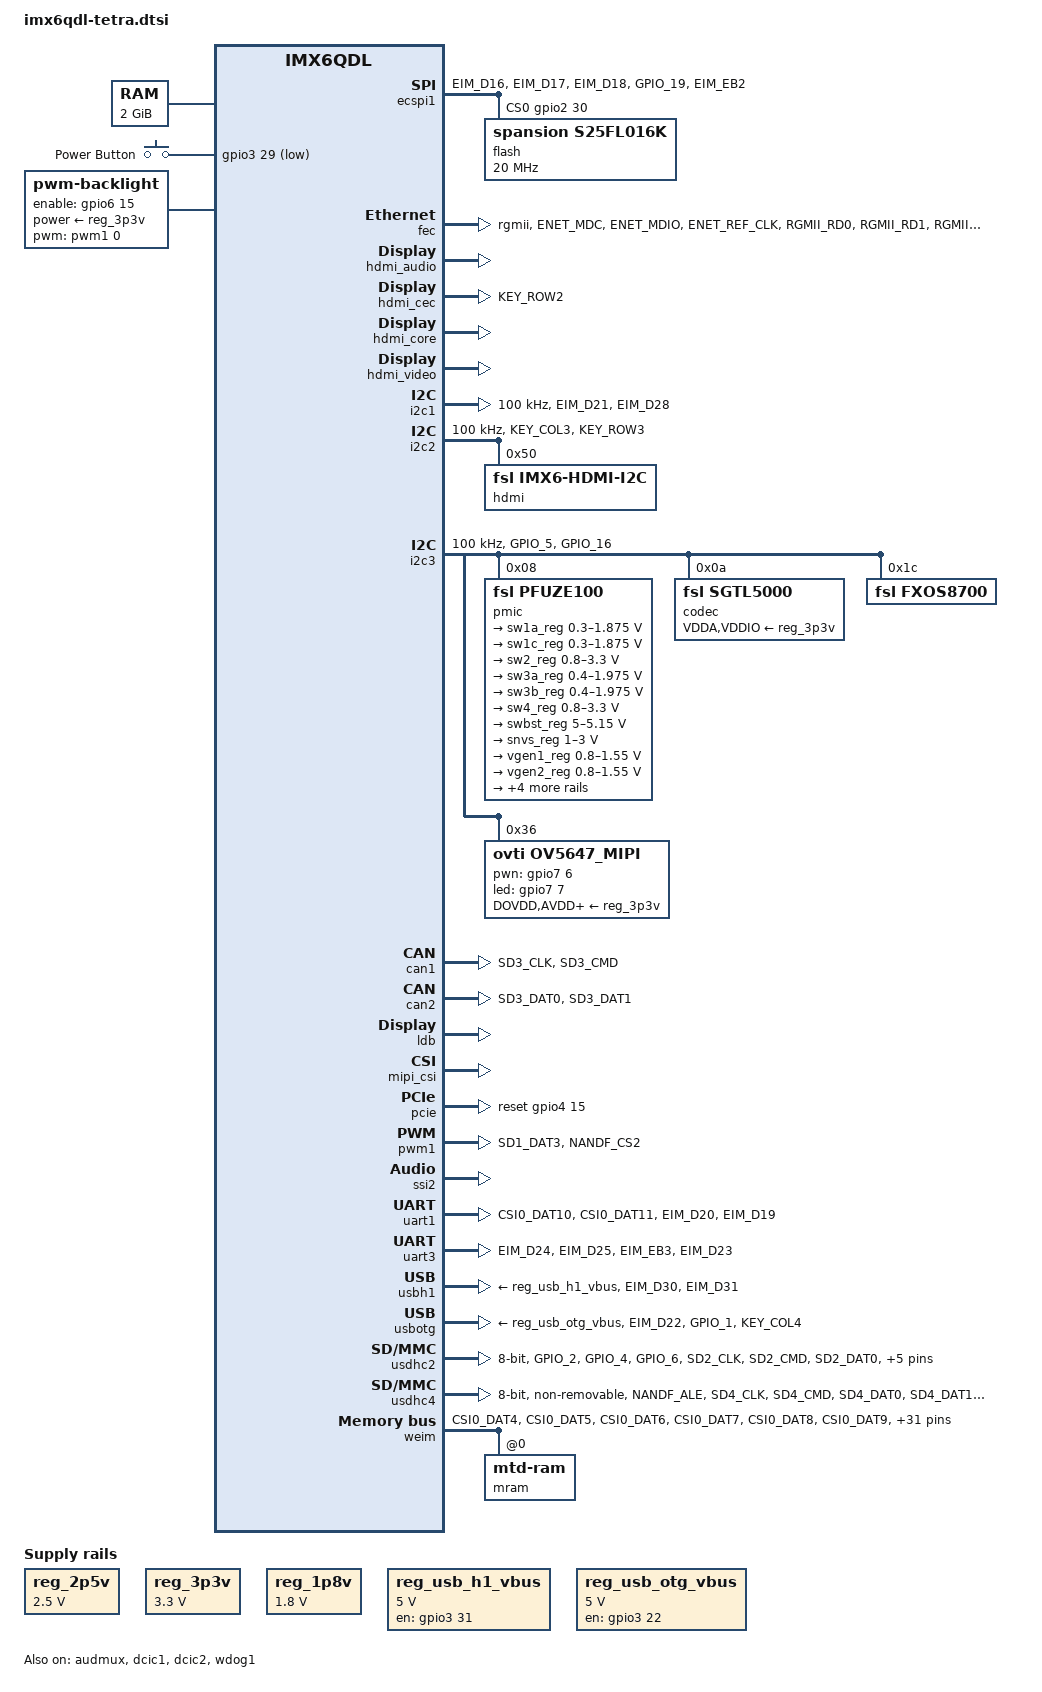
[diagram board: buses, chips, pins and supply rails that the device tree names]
/*
 * Copyright 2012-2016 Freescale Semiconductor, Inc.
 * Copyright 2011 Linaro Ltd.
 *
 * The code contained herein is licensed under the GNU General Public
 * License. You may obtain a copy of the GNU General Public License
 * Version 2 or later at the following locations:
 *
 * http://www.opensource.org/licenses/gpl-license.html
 * http://www.gnu.org/copyleft/gpl.html
 */

#include <dt-bindings/gpio/gpio.h>
#include <dt-bindings/input/input.h>

/ {
	aliases {
		mxcfb0 = &mxcfb1;
		mxcfb1 = &mxcfb2;
		mxcfb2 = &mxcfb3;
		mxcfb3 = &mxcfb4;
	};

/*
	hannstar_cabc {
		compatible = "hannstar,cabc";
		lvds0 {
			gpios = <&gpio6 15 GPIO_ACTIVE_HIGH>;
		};
	};
*/

	chosen {
		stdout-path = &uart1;
	};

	leds {
                /*
		compatible = "gpio-leds";

		cpu-user-led {
			gpios = <&gpio1 19 0>;
			linux,default-trigger = "heartbeat";
			retain-state-suspended;
		};

		sd-activity-led {
			gpios = <&gpio1 6 0>;
			linux,default-trigger = "mmc1";  *//*SD activity LED*//*
		};

		user-led-1 {
			gpios = <&gpio2 0 1>;
		};
                */
	};

	memory: memory {
		reg = <0x10000000 0x80000000>;
	};

	regulators {
		compatible = "simple-bus";
		#address-cells = <1>;
		#size-cells = <0>;

                reg_2p5v: regulator@0 {
                        compatible = "regulator-fixed";
                        reg = <0>;
                        regulator-name = "2P5V";
                        regulator-min-microvolt = <2500000>;
                        regulator-max-microvolt = <2500000>;
                        regulator-always-on;
                };

                reg_3p3v: regulator@1 {
                        compatible = "regulator-fixed";
                        reg = <1>;
                        regulator-name = "3P3V";
                        regulator-min-microvolt = <3300000>;
                        regulator-max-microvolt = <3300000>;
                        regulator-always-on;
                };

                reg_1p8v: regulator@2 {
                        compatible = "regulator-fixed";
                        reg = <2>;
                        regulator-name = "1P8V";
                        regulator-min-microvolt = <1800000>;
                        regulator-max-microvolt = <1800000>;
                        regulator-always-on;
                };
                reg_usb_h1_vbus: regulator@3 {
                        compatible = "regulator-fixed";
                        reg = <3>;
                        pinctrl-names = "default";
                        regulator-name = "usb_h1_vbus";
                        regulator-min-microvolt = <5000000>;
                        regulator-max-microvolt = <5000000>;
                        gpio = <&gpio3 31 GPIO_ACTIVE_HIGH>;
                        enable-active-high;
                };

                reg_usb_otg_vbus: regulator@4 {
                        compatible = "regulator-fixed";
                        reg = <4>;
                        regulator-name = "usb_otg_vbus";
                        regulator-min-microvolt = <5000000>;
                        regulator-max-microvolt = <5000000>;
                        gpio = <&gpio3 22 1>;
                        enable-active-high;
                };

	};

	gpio-keys {
		compatible = "gpio-keys";
		pinctrl-names = "default";
		pinctrl-0 = <&pinctrl_gpio_keys>;

		power {
			label = "Power Button";
			gpios = <&gpio3 29 GPIO_ACTIVE_LOW>;
			gpio-key,wakeup;
			linux,code = <KEY_POWER>;
		};
/*

		volume-up {
			label = "Volume Up";
			gpios = <&gpio1 4 GPIO_ACTIVE_LOW>;
			gpio-key,wakeup;
			linux,code = <KEY_VOLUMEUP>;
		};

		volume-down {
			label = "Volume Down";
			gpios = <&gpio1 5 GPIO_ACTIVE_LOW>;
			gpio-key,wakeup;
			linux,code = <KEY_VOLUMEDOWN>;
		};
*/
	};

        sound {
                compatible = "fsl,imx-audio-sgtl5000";
                model = "sgtl5000-audio";
                ssi-controller = <&ssi2>;
                audio-codec = <&codec>;
                audio-routing =
                        "MIC_IN", "Mic Jack",
                        "Mic Jack", "Mic Bias",
                        "Headphone Jack", "HP_OUT";
                mux-int-port = <1>;
                mux-ext-port = <3>;
        };

	sound-hdmi {
		compatible = "fsl,imx6q-audio-hdmi",
			     "fsl,imx-audio-hdmi";
		model = "imx-audio-hdmi";
		hdmi-controller = <&hdmi_audio>;
	};

	mxcfb1: fb@0 {
		compatible = "fsl,mxc_sdc_fb";
		disp_dev = "hdmi";
		interface_pix_fmt = "RGB24";
		mode_str ="1920x1080M@60";
		default_bpp = <24>;
		int_clk = <0>;
		late_init = <0>;
		status = "disabled";
	};

	mxcfb2: fb@1 {
		compatible = "fsl,mxc_sdc_fb";
		disp_dev = "ldb";
		interface_pix_fmt = "RGB666";
		default_bpp = <16>;
		int_clk = <0>;
		late_init = <0>;
		status = "disabled";
	};

	mxcfb3: fb@2 {
		compatible = "fsl,mxc_sdc_fb";
		disp_dev = "lcd";
		interface_pix_fmt = "RGB565";
		mode_str ="CLAA-WVGA";
		default_bpp = <16>;
		int_clk = <0>;
		late_init = <0>;
		status = "disabled";
	};

	mxcfb4: fb@3 {
		compatible = "fsl,mxc_sdc_fb";
		disp_dev = "ldb";
		interface_pix_fmt = "RGB666";
		default_bpp = <16>;
		int_clk = <0>;
		late_init = <0>;
		status = "disabled";
	};
	backlight {
		compatible = "pwm-backlight";
		pwms = <&pwm1 0 5000000>;
		power-supply = <&reg_3p3v>;
		brightness-levels = <0 4 8 16 32 64 128 255>;
		default-brightness-level = <7>;
		enable-gpios = <&gpio6 15 GPIO_ACTIVE_HIGH>;
		status = "okay";
	};

	v4l2_cap_0 {
		compatible = "fsl,imx6q-v4l2-capture";
		ipu_id = <0>;
		csi_id = <0>;
		mclk_source = <0>;
		mipi_camera = <1>;
		default_input = <1>;
		status = "okay";
	};

/*
	v4l2_cap_1 {
		compatible = "fsl,imx6q-v4l2-capture";
		ipu_id = <0>;
		csi_id = <1>;
		mclk_source = <0>;
		status = "okay";
	};
*/

	v4l2_out {
		compatible = "fsl,mxc_v4l2_output";
		status = "okay";
	};

};

&audmux {
	pinctrl-names = "default";
	pinctrl-0 = <&pinctrl_audmux>;
	status = "okay";
};
/*
&cpu0 {
	arm-supply = <&sw1a_reg>;
	soc-supply = <&sw1c_reg>;
};
*/

&ecspi1 {

        fsl,spi-num-chipselects = <1>;
        cs-gpios = <&gpio2 30 0>; 
        pinctrl-names = "default";
        pinctrl-0 = <&pinctrl_ecspi1 &pinctrl_ecspi1_cs>;
        status = "okay";

        flash: 25fl016ki@0 {
                #address-cells = <1>;
                #size-cells = <1>;
                compatible = "spansion,s25fl016k";
                spi-max-frequency = <20000000>;
                reg = <0>;
        };


};

&ecspi3 {

        pinctrl-names = "default";
        pinctrl-0 = <&pinctrl_ecspi3>;
        status = "disabled";

};


&fec {
	pinctrl-names = "default";
	pinctrl-0 = <&pinctrl_enet>;
	phy-mode = "rgmii";
	/*phy-reset-gpios = <&gpio1 25 0>;*/
	/*fsl,magic-packet;*/
	status = "okay";
        txen-skew-ps = <0>;
        txc-skew-ps = <3000>;
        rxdv-skew-ps = <0>;
        rxc-skew-ps = <3000>;
        rxd0-skew-ps = <0>;
        rxd1-skew-ps = <0>;
        rxd2-skew-ps = <0>;
        rxd3-skew-ps = <0>;
        txd0-skew-ps = <0>;
        txd1-skew-ps = <0>;
        txd2-skew-ps = <0>;
        txd3-skew-ps = <0>;
/*
	phy-handle = <&ethphy0>;
        mdio {
                #address-cells = <1>;
                #size-cells = <0>;
                ethphy0: ethernet-phy@3 {
                        compatible = "micrel,ksz9031";
                        device_type = "ethernet-phy";
                        reg = <3>;
                };
        };
*/
};

&gpc {
	fsl,ldo-bypass = <1>;
};

&dcic1 {
	dcic_id = <0>;
	dcic_mux = "dcic-hdmi";
	status = "okay";
};

&dcic2 {
	dcic_id = <1>;
	dcic_mux = "dcic-lvds1";
	status = "okay";
};

&hdmi_audio {
	status = "okay";
};

&hdmi_cec {
	pinctrl-names = "default";
	pinctrl-0 = <&pinctrl_hdmi_cec>;
	status = "okay";
};

&hdmi_core {
	ipu_id = <0>;
	disp_id = <0>;
	status = "okay";
};

&hdmi_video {
	fsl,phy_reg_vlev = <0x0294>;
	fsl,phy_reg_cksymtx = <0x800d>;
	/*HDMI-supply = <&reg_hdmi>;*/
	status = "okay";
};

&i2c1 {
	clock-frequency = <100000>;
	pinctrl-names = "default";
	pinctrl-0 = <&pinctrl_i2c1>;
	status = "okay";

};

&i2c2 {
	clock-frequency = <100000>;
	pinctrl-names = "default";
	pinctrl-0 = <&pinctrl_i2c2>;
	status = "okay";

	hdmi: edid@50 {
		compatible = "fsl,imx6-hdmi-i2c";
		reg = <0x50>;
	};

};
&i2c3 {
	clock-frequency = <100000>;
	pinctrl-names = "default";
	pinctrl-0 = <&pinctrl_i2c3>;
	status = "okay";

        pmic: pfuze100@08 {
                compatible = "fsl,pfuze100";
                reg = <0x08>;

                regulators {
                        sw1a_reg: sw1ab {
                                regulator-min-microvolt = <300000>;
                                regulator-max-microvolt = <1875000>;
                                regulator-boot-on;
                                regulator-always-on;
                                regulator-ramp-delay = <6250>;
                        };

                        sw1c_reg: sw1c {
                                regulator-min-microvolt = <300000>;
                                regulator-max-microvolt = <1875000>;
                                regulator-boot-on;
                                regulator-always-on;
                                regulator-ramp-delay = <6250>;
                        };

                        sw2_reg: sw2 {
                                regulator-min-microvolt = <800000>;
                                regulator-max-microvolt = <3300000>;
                                regulator-boot-on;
                                regulator-always-on;
                                regulator-ramp-delay = <6250>;
                        };

                        sw3a_reg: sw3a {
                                regulator-min-microvolt = <400000>;
                                regulator-max-microvolt = <1975000>;
                                regulator-boot-on;
                                regulator-always-on;
                        };

                        sw3b_reg: sw3b {
                                regulator-min-microvolt = <400000>;
                                regulator-max-microvolt = <1975000>;
                                regulator-boot-on;
                                regulator-always-on;
                        };

                        sw4_reg: sw4 {
                                regulator-min-microvolt = <800000>;
                                regulator-max-microvolt = <3300000>;
                        };

                        swbst_reg: swbst {
                                regulator-min-microvolt = <5000000>;
                                regulator-max-microvolt = <5150000>;
                        };

                        snvs_reg: vsnvs {
                                regulator-min-microvolt = <1000000>;
                                regulator-max-microvolt = <3000000>;
                                regulator-boot-on;
                                regulator-always-on;
                        };
                        vref_reg: vrefddr {
                                regulator-boot-on;
                                regulator-always-on;
                        };

                        vgen1_reg: vgen1 {
                                regulator-min-microvolt = <800000>;
                                regulator-max-microvolt = <1550000>;
                        };

                        vgen2_reg: vgen2 {
                                regulator-min-microvolt = <800000>;
                                regulator-max-microvolt = <1550000>;
                        };

                        vgen3_reg: vgen3 {
                                regulator-min-microvolt = <1800000>;
                                regulator-max-microvolt = <3300000>;
                        };

                        vgen4_reg: vgen4 {
                                regulator-min-microvolt = <1800000>;
                                regulator-max-microvolt = <3300000>;
                                regulator-always-on;
                        };

                        vgen5_reg: vgen5 {
                                regulator-min-microvolt = <1800000>;
                                regulator-max-microvolt = <3300000>;
                                regulator-always-on;
                        };

                        vgen6_reg: vgen6 {
                                regulator-min-microvolt = <1800000>;
                                regulator-max-microvolt = <3300000>;
                                regulator-always-on;
                        };
                };
        };

        codec: sgtl5000@0a {
                compatible = "fsl,sgtl5000";
                reg = <0x0a>;
                clocks = <&clks 201>;
                VDDA-supply = <&reg_3p3v>;
                VDDIO-supply = <&reg_3p3v>;
        };

        fxos8700@1c {
                compatible = "fsl,fxos8700";
                reg = <0x1c>;
        };

        ov5647_mipi@36 {
                compatible = "ovti,ov5647_mipi";
                reg = <0x36>;
                clocks = <&clks 0>;
                clock-names = "csi_mclk";
                pinctrl-names = "default";
                pinctrl-0 = <&pinctrl_cam>;
                DOVDD-supply = <&reg_3p3v>;
                AVDD-supply = <&reg_3p3v>;
                DVDD-supply = <&reg_3p3v>;
                pwn-gpios = <&gpio7 6 GPIO_ACTIVE_HIGH>;
                led-gpios = <&gpio7 7 GPIO_ACTIVE_HIGH>;
		ipu_id = <0>;
                csi_id = <0>;
                mclk = <25000000>;
                mclk_source = <0>;
                /*extended-buffer;*/
        };
};

&clks {
	fsl,ldb-di0-parent = <&clks IMX6QDL_CLK_PLL2_PFD0_352M>;
	fsl,ldb-di1-parent = <&clks IMX6QDL_CLK_PLL2_PFD0_352M>;
};

&can1 {
        pinctrl-names = "default";
        pinctrl-0 = <&pinctrl_flexcan1>;
        status = "okay";
};

&can2 {
        pinctrl-names = "default";
        pinctrl-0 = <&pinctrl_flexcan2>;
        status = "okay";
};


&iomuxc {
	pinctrl-names = "default";
	pinctrl-0 = <&pinctrl_hog>;
	
	imx6qdl-tetra {
		pinctrl_hog: hoggrp {
			fsl,pins = <
				MX6QDL_PAD_GPIO_0__CCM_CLKO1               0x0001B0B0
                                MX6QDL_PAD_CSI0_PIXCLK__ARM_EVENTO         0x0001B0B0
                                MX6QDL_PAD_GPIO_3__XTALOSC_REF_CLK_24M     0x0001B0B0
                                MX6QDL_PAD_GPIO_8__XTALOSC_REF_CLK_32K     0x0001B0B0
/*
                                MX6QDL_PAD_NANDF_CS0__GPIO6_IO11 0x80000000
                                MX6QDL_PAD_NANDF_CS1__GPIO6_IO14 0x80000000
                                MX6QDL_PAD_NANDF_CS2__GPIO6_IO15 0x80000000
                                MX6QDL_PAD_NANDF_CS3__GPIO6_IO16 0x80000000
				MX6QDL_PAD_NANDF_CLE__GPIO6_IO07           0x80000000
*/
			>;
		};

		pinctrl_cam: camgrp {
                        fsl,pins = <
                                MX6QDL_PAD_SD3_DAT2__GPIO7_IO06            0x0001B0B0
                                MX6QDL_PAD_SD3_DAT3__GPIO7_IO07            0x000120B0
                        >;
                };

		pinctrl_flexcan1: flexcan1grp {
			fsl,pins = <
				MX6QDL_PAD_SD3_CLK__FLEXCAN1_RX            0x0001B0B0
				MX6QDL_PAD_SD3_CMD__FLEXCAN1_TX            0x0001B0B0
			>;
		};

                pinctrl_flexcan2: flexcan2grp {
                        fsl,pins = <

				MX6QDL_PAD_SD3_DAT0__FLEXCAN2_TX           0x0001B0B0
				MX6QDL_PAD_SD3_DAT1__FLEXCAN2_RX           0x0001B0B0
			>;
		};

		pinctrl_weim_cs0: weimcs0grp {
                        fsl,pins = <
				MX6QDL_PAD_EIM_CS0__EIM_CS0_B              0x0000B0B1                        
                        >;
                };


                pinctrl_weim_nor: weimnorgrp {
                        fsl,pins = <
				MX6QDL_PAD_CSI0_DAT4__EIM_DATA02           0x0001B0B0
				MX6QDL_PAD_CSI0_DAT5__EIM_DATA03           0x0001B0B0
				MX6QDL_PAD_CSI0_DAT6__EIM_DATA04           0x0001B0B0
				MX6QDL_PAD_CSI0_DAT7__EIM_DATA05           0x0001B0B0
				MX6QDL_PAD_CSI0_DAT8__EIM_DATA06           0x0001B0B0
				MX6QDL_PAD_CSI0_DAT9__EIM_DATA07           0x0001B0B0
				MX6QDL_PAD_CSI0_DAT12__EIM_DATA08          0x0001B0B0
				MX6QDL_PAD_CSI0_DAT13__EIM_DATA09          0x0001B0B0
				MX6QDL_PAD_CSI0_DAT14__EIM_DATA10          0x0001B0B0
				MX6QDL_PAD_CSI0_DAT15__EIM_DATA11          0x0001B0B0
				MX6QDL_PAD_CSI0_DAT16__EIM_DATA12          0x0001B0B0
				MX6QDL_PAD_CSI0_DAT17__EIM_DATA13          0x0001B0B0
				MX6QDL_PAD_CSI0_DAT18__EIM_DATA14          0x0001B0B0
				MX6QDL_PAD_CSI0_DAT19__EIM_DATA15          0x0001B0B0
				MX6QDL_PAD_CSI0_DATA_EN__EIM_DATA00        0x0001B0B0
				MX6QDL_PAD_CSI0_VSYNC__EIM_DATA01          0x0001B0B0
				MX6QDL_PAD_EIM_DA0__EIM_AD00               0x0000B0B1
				MX6QDL_PAD_EIM_DA1__EIM_AD01               0x0000B0B1
				MX6QDL_PAD_EIM_DA2__EIM_AD02               0x0000B0B1
				MX6QDL_PAD_EIM_DA3__EIM_AD03               0x0000B0B1
				MX6QDL_PAD_EIM_DA4__EIM_AD04               0x0000B0B1
				MX6QDL_PAD_EIM_DA5__EIM_AD05               0x0000B0B1
				MX6QDL_PAD_EIM_DA6__EIM_AD06               0x0000B0B1
				MX6QDL_PAD_EIM_DA7__EIM_AD07               0x0000B0B1
				MX6QDL_PAD_EIM_DA8__EIM_AD08               0x0000B0B1
				MX6QDL_PAD_EIM_DA9__EIM_AD09               0x0000B0B1
				MX6QDL_PAD_EIM_DA10__EIM_AD10              0x0000B0B1
				MX6QDL_PAD_EIM_DA11__EIM_AD11              0x0000B0B1
				MX6QDL_PAD_EIM_DA12__EIM_AD12              0x0000B0B1
				MX6QDL_PAD_EIM_DA13__EIM_AD13              0x0000B0B1
				MX6QDL_PAD_EIM_DA14__EIM_AD14              0x0000B0B1
				MX6QDL_PAD_EIM_DA15__EIM_AD15              0x0000B0B1
				MX6QDL_PAD_EIM_EB0__EIM_EB0_B              0x0000B0B1
				MX6QDL_PAD_EIM_EB1__EIM_EB1_B              0x0000B0B1
				MX6QDL_PAD_EIM_OE__EIM_OE_B                0x0000B0B1
				MX6QDL_PAD_EIM_RW__EIM_RW                  0x0000B0B1
			>;
		};		

		pinctrl_audmux: audmuxgrp {
			fsl,pins = <
				MX6QDL_PAD_KEY_COL0__AUD5_TXC              0x0001B0B0
				MX6QDL_PAD_KEY_COL1__AUD5_TXFS             0x0001B0B0
				MX6QDL_PAD_KEY_ROW0__AUD5_TXD              0x0001B0B0
				MX6QDL_PAD_KEY_ROW1__AUD5_RXD              0x0001B0B0
			>;
		};

		pinctrl_ecspi1: ecspi1grp {
			fsl,pins = <
				/*MX6QDL_PAD_DISP0_DAT15__ECSPI1_SS1         0x0001B0B0*/
				MX6QDL_PAD_EIM_D16__ECSPI1_SCLK            0x0001B0B0
				MX6QDL_PAD_EIM_D17__ECSPI1_MISO            0x0001B0B0
				MX6QDL_PAD_EIM_D18__ECSPI1_MOSI            0x0001B0B0
				MX6QDL_PAD_GPIO_19__ECSPI1_RDY             0x0001B0B0
			>;
		};
		pinctrl_ecspi1_cs: ecspi1cs {
                        fsl,pins = <
				MX6QDL_PAD_EIM_EB2__GPIO2_IO30		   0x80000000
                        >;
                };


                pinctrl_ecspi3: ecspi3grp {
                        fsl,pins = <
                                MX6QDL_PAD_DISP0_DAT0__ECSPI3_SCLK         0x0001B0B0
                                MX6QDL_PAD_DISP0_DAT1__ECSPI3_MOSI         0x0001B0B0
                                MX6QDL_PAD_DISP0_DAT2__ECSPI3_MISO         0x0001B0B0
                                MX6QDL_PAD_DISP0_DAT3__ECSPI3_SS0          0x0001B0B0
                                MX6QDL_PAD_DISP0_DAT4__ECSPI3_SS1          0x0001B0B0
                                MX6QDL_PAD_DISP0_DAT5__ECSPI3_SS2          0x0001B0B0
                                MX6QDL_PAD_DISP0_DAT7__ECSPI3_RDY          0x0001B0B0
                        >;
                };


		pinctrl_i2c1: i2c1grp {
			fsl,pins = <
				MX6QDL_PAD_EIM_D21__I2C1_SCL               0x4001b8b1
				MX6QDL_PAD_EIM_D28__I2C1_SDA               0x4001b8b1			
			>;
		};

		pinctrl_i2c2: i2c2grp {
			fsl,pins = <
				MX6QDL_PAD_KEY_COL3__I2C2_SCL              0x4001b8b1
				MX6QDL_PAD_KEY_ROW3__I2C2_SDA              0x4001b8b1
			 >;
		};

                pinctrl_i2c3: i2c3grp {
                        fsl,pins = <
                                MX6QDL_PAD_GPIO_5__I2C3_SCL                0x4001b8b1
                                MX6QDL_PAD_GPIO_16__I2C3_SDA               0x4001b8b1
                        >;
                };

		pinctrl_enet: enetgrp {
			fsl,pins = <
				MX6QDL_PAD_ENET_MDC__ENET_MDC              0x0001B0B0
				MX6QDL_PAD_ENET_MDIO__ENET_MDIO            0x0001B0B0
				MX6QDL_PAD_ENET_REF_CLK__ENET_TX_CLK       0x0001B0B0
				MX6QDL_PAD_RGMII_RD0__RGMII_RD0            0x0001B030
				MX6QDL_PAD_RGMII_RD1__RGMII_RD1            0x0001B030
				MX6QDL_PAD_RGMII_RD2__RGMII_RD2            0x0001B030
				MX6QDL_PAD_RGMII_RD3__RGMII_RD3            0x0001B030
				MX6QDL_PAD_RGMII_RXC__RGMII_RXC            0x00013030
				MX6QDL_PAD_RGMII_RX_CTL__RGMII_RX_CTL      0x00013030
				MX6QDL_PAD_RGMII_TD0__RGMII_TD0            0x0001B030
				MX6QDL_PAD_RGMII_TD1__RGMII_TD1            0x0001B030
				MX6QDL_PAD_RGMII_TD2__RGMII_TD2            0x0001B030
				MX6QDL_PAD_RGMII_TD3__RGMII_TD3            0x0001B030
				MX6QDL_PAD_RGMII_TXC__RGMII_TXC            0x00013030
				MX6QDL_PAD_RGMII_TX_CTL__RGMII_TX_CTL      0x00013030
				MX6QDL_PAD_ENET_CRS_DV__GPIO1_IO25          0x000b0
			>;
		};

		pinctrl_gpio_keys: gpio_keysgrp {
			fsl,pins = <
				MX6QDL_PAD_DI0_PIN2__GPIO4_IO18            0x000130B0
				MX6QDL_PAD_DISP0_DAT8__GPIO4_IO29          0x0001B0B0
				MX6QDL_PAD_DISP0_DAT9__GPIO4_IO30          0x0001B0B0
				MX6QDL_PAD_DISP0_DAT10__GPIO4_IO31         0x0001B0B0
				MX6QDL_PAD_DISP0_DAT12__GPIO5_IO06         0x0001B0B0
				MX6QDL_PAD_DISP0_DAT22__GPIO5_IO16         0x0001B0B0
				MX6QDL_PAD_EIM_A25__GPIO5_IO02             0x0000B0B1
				MX6QDL_PAD_EIM_D26__GPIO3_IO26             0x0001B0B0
				MX6QDL_PAD_GPIO_17__GPIO7_IO12             0x0001B0B0
				MX6QDL_PAD_KEY_ROW4__GPIO4_IO15            0x0001B0B0
				MX6QDL_PAD_NANDF_CLE__GPIO6_IO07           0x000130B0
/*
				MX6QDL_PAD_NANDF_CS2__GPIO6_IO15           0x000130B0
*/
				MX6QDL_PAD_NANDF_CS3__GPIO6_IO16           0x000130B0
				MX6QDL_PAD_NANDF_D0__GPIO2_IO00            0x0001B0B0
				MX6QDL_PAD_NANDF_D1__GPIO2_IO01            0x0001B0B0
				MX6QDL_PAD_NANDF_D2__GPIO2_IO02            0x000130B0
				MX6QDL_PAD_NANDF_D4__GPIO2_IO04            0x000130B0
				MX6QDL_PAD_NANDF_D5__GPIO2_IO05            0x0001B0B0
				MX6QDL_PAD_NANDF_D6__GPIO2_IO06            0x000130B0
				MX6QDL_PAD_NANDF_D7__GPIO2_IO07            0x0001B0B0
				MX6QDL_PAD_NANDF_RB0__GPIO6_IO10           0x0001B0B0
				MX6QDL_PAD_SD1_CLK__GPIO1_IO20             0x0001B0B0
				MX6QDL_PAD_SD1_CMD__GPIO1_IO18             0x0001B0B0
				MX6QDL_PAD_SD1_DAT0__GPIO1_IO16            0x0001B0B0
				MX6QDL_PAD_SD1_DAT1__GPIO1_IO17            0x0001B0B0
				MX6QDL_PAD_SD1_DAT2__GPIO1_IO19            0x0001B0B0
				MX6QDL_PAD_SD3_DAT4__GPIO7_IO01            0x0001B0B0
				MX6QDL_PAD_SD3_RST__GPIO7_IO08             0x0001B0B0
			>;
		};

		pinctrl_hdmi_cec: hdmicecgrp {
			fsl,pins = <
				MX6QDL_PAD_KEY_ROW2__HDMI_TX_CEC_LINE      0x0001B0B0
			>;
		};

                pinctrl_pcie: pciegrp {
                        fsl,pins = <
                                MX6QDL_PAD_GPIO_17__GPIO7_IO12  0x1b0b0
                        >;
                };

		pinctrl_pwm1: pwm1grp {
			fsl,pins = <
				MX6QDL_PAD_SD1_DAT3__PWM1_OUT              0x0001b0b1 /* 0x0001e0B0 */
				MX6QDL_PAD_NANDF_CS2__GPIO6_IO15           0x000130B0
			>;
		};

		pinctrl_usbotg: usbotggrp {
			fsl,pins = <
/*				MX6QDL_PAD_EIM_D22__USB_OTG_PWR            0x000130B0*/
                                MX6QDL_PAD_EIM_D22__GPIO3_IO22  0x010b0
				MX6QDL_PAD_GPIO_1__USB_OTG_ID              0x10759 /*0x0001B0B0*/
				MX6QDL_PAD_KEY_COL4__USB_OTG_OC            0x0001B0B0
			>;
		};

                pinctrl_usbh1: usbh1grp {
                        fsl,pins = <
                                MX6QDL_PAD_EIM_D30__USB_H1_OC              0x0001B0B0
                               /* MX6QDL_PAD_EIM_D31__USB_H1_PWR             0x0001B0B0*/
				MX6QDL_PAD_EIM_D31__GPIO3_IO31  0x010b0
                        >;
                };
		
		pinctrl_uart1: uart1grp {
			fsl,pins = <
				MX6QDL_PAD_CSI0_DAT10__UART1_TX_DATA       0x0001B0B0
				MX6QDL_PAD_CSI0_DAT11__UART1_RX_DATA       0x0001B0B0
                                MX6QDL_PAD_EIM_D20__UART1_CTS_B            0x0001B0B0
                                MX6QDL_PAD_EIM_D19__UART1_RTS_B            0x0001B0B0

			>;
		};

		pinctrl_uart3: uart3grp {
			fsl,pins = <
				MX6QDL_PAD_EIM_D24__UART3_TX_DATA          0x0001B0B0
				MX6QDL_PAD_EIM_D25__UART3_RX_DATA          0x0001B0B0
                                MX6QDL_PAD_EIM_EB3__UART3_CTS_B            0x0001B0B0
                                MX6QDL_PAD_EIM_D23__UART3_RTS_B            0x0001B0B0

			>;
		};
		
		pinctrl_usdhc2: usdhc2grp {
			fsl,pins = <
				MX6QDL_PAD_GPIO_2__SD2_WP                  0x0001B0B0
				MX6QDL_PAD_GPIO_4__SD2_CD_B                0x0001B0B0
				MX6QDL_PAD_GPIO_6__SD2_LCTL                0x0001B0B0
				MX6QDL_PAD_SD2_CLK__SD2_CLK                0x0001B0B0
				MX6QDL_PAD_SD2_CMD__SD2_CMD                0x0001B0B0
				MX6QDL_PAD_SD2_DAT0__SD2_DATA0             0x0001B0B0
				MX6QDL_PAD_SD2_DAT1__SD2_DATA1             0x0001B0B0
				MX6QDL_PAD_SD2_DAT2__SD2_DATA2             0x0001B0B0
				MX6QDL_PAD_SD2_DAT3__SD2_DATA3             0x0001B0B0
			>;
		};

		pinctrl_usdhc4: usdhc4grp {
			fsl,pins = <
				MX6QDL_PAD_NANDF_ALE__SD4_RESET            0x0001B0B0
				MX6QDL_PAD_SD4_CLK__SD4_CLK                0x0001B0B0
				MX6QDL_PAD_SD4_CMD__SD4_CMD                0x0001B0B0
				MX6QDL_PAD_SD4_DAT0__SD4_DATA0             0x0001B0B0
				MX6QDL_PAD_SD4_DAT1__SD4_DATA1             0x0001B0B0
				MX6QDL_PAD_SD4_DAT2__SD4_DATA2             0x0001B0B0
				MX6QDL_PAD_SD4_DAT3__SD4_DATA3             0x0001B0B0
				MX6QDL_PAD_SD4_DAT4__SD4_DATA4             0x0001B0B0
				MX6QDL_PAD_SD4_DAT5__SD4_DATA5             0x0001B0B0
				MX6QDL_PAD_SD4_DAT6__SD4_DATA6             0x0001B0B0
				MX6QDL_PAD_SD4_DAT7__SD4_DATA7             0x0001B0B0
 			>;
		};

		pinctrl_wdog: wdoggrp {
			fsl,pins = <
				MX6QDL_PAD_GPIO_9__WDOG1_B                 0x0001B0B0
			>;
		};
	};

};
&ldb {
	status = "okay";

	lvds-channel@0 {
                crtc = "ipu2-di0";
		fsl,data-mapping = "spwg";
		fsl,data-width = <18>; /* change for panel type */
                primary;
		status = "okay";

		display-timings {
			native-mode = <&timing0>;
			timing0: hsd100pxn1 {
				clock-frequency = <65000000>;
				hactive = <1024>;
				vactive = <768>;
				hback-porch = <220>;
				hfront-porch = <40>;
				vback-porch = <21>;
				vfront-porch = <7>;
				hsync-len = <60>;
				vsync-len = <10>;
			};
		};
	};
};

&mipi_csi {
	status = "okay";
	ipu_id = <0>;
	csi_id = <0>;
	v_channel = <0>;
	lanes = <2>;
	mipi_dphy_clk = <0x28>;
};

&pcie {
        pinctrl-names = "default";
        /*pinctrl-0 = <&pinctrl_pcie>;
        reset-gpio = <&gpio7 12 0>;*/
	reset-gpio = <&gpio4 15 0>;
        status = "okay";
};


&pwm1 {
	pinctrl-names = "default";
	pinctrl-0 = <&pinctrl_pwm1>;
	status = "okay";
};

&snvs_poweroff {
	status = "okay";
};


&ssi2 {
        fsl,mode = "i2s-master";
        status = "okay";
};
/*
&ssi2 {
	fsl,mode = "i2s-slave";
	status = "okay";
};
*/

&uart1 {
	pinctrl-names = "default";
	pinctrl-0 = <&pinctrl_uart1>;
	status = "okay";
};

&uart3 {
	pinctrl-names = "default";
	pinctrl-0 = <&pinctrl_uart3>;
	status = "okay";
};

&usbh1 {
	vbus-supply = <&reg_usb_h1_vbus>;
        pinctrl-names = "default";
        pinctrl-0 = <&pinctrl_usbh1>;
	status = "okay";
};

&usbotg {
	vbus-supply = <&reg_usb_otg_vbus>;
	pinctrl-names = "default";
	pinctrl-0 = <&pinctrl_usbotg>;
	disable-over-current;
	srp-disable;
	hnp-disable;
	adp-disable;
	status = "okay";
};
/*
&usbphy1 {
	tx-d-cal = <0x5>;
};

&usbphy2 {
	tx-d-cal = <0x5>;
};
*/

&usdhc2 {
	pinctrl-names = "default";
	pinctrl-0 = <&pinctrl_usdhc2>;
	bus-width = <8>;
	cd-gpios = <&gpio1 4 GPIO_ACTIVE_LOW>;
	wp-gpios = <&gpio1 2 GPIO_ACTIVE_HIGH>;
	no-1-8-v;
	keep-power-in-suspend;
	enable-sdio-wakeup;
	status = "okay";
};

&usdhc4 {
	pinctrl-names = "default";
	pinctrl-0 = <&pinctrl_usdhc4>;
	bus-width = <8>;
	non-removable;
	no-1-8-v;
	keep-power-in-suspend;
	status = "okay";
};

&wdog1 {
	pinctrl-names = "default";
	pinctrl-0 = <&pinctrl_wdog>;
	fsl,wdog_b;
	status = "okay";
};

&wdog2 {
	status = "disabled";
};

&weim {
	compatible = "fsl,imx6q-weim";
        pinctrl-names = "default";
        pinctrl-0 = <&pinctrl_weim_nor &pinctrl_weim_cs0>;
        #address-cells = <2>;
        #size-cells = <1>;
        ranges = <0 0 0x08000000 0x08000000>;
        status = "okay"; /* pin conflict with SPI NOR */
	fsl,weim-cs-gpr = <&gpr>;

	mram@0,0 {
	    compatible = "mtd-ram";
	    reg = <0 0 1000000>;
	    /*#address-cells = <1>;
	    #size-cells = <1>;*/
	    bank-width = <2>;
	    /* EIM_CSnGCR1, EIM_CSnGCR2, EIM_CSnRCR1, EIM_CSnRCR2, EIM_CSnWCR1, EIM_CSnWCR2 */
	    /*fsl,weim-cs-timing = <0x000100B1 0x00000000 0x04080000 0x00000000 0x8400208 0x00000000>;*/
	    fsl,weim-cs-timing = <0x00B100B1 0x00000000 0x07081100 0x00000019 0x87009240 0x00000000>;
	};

};

